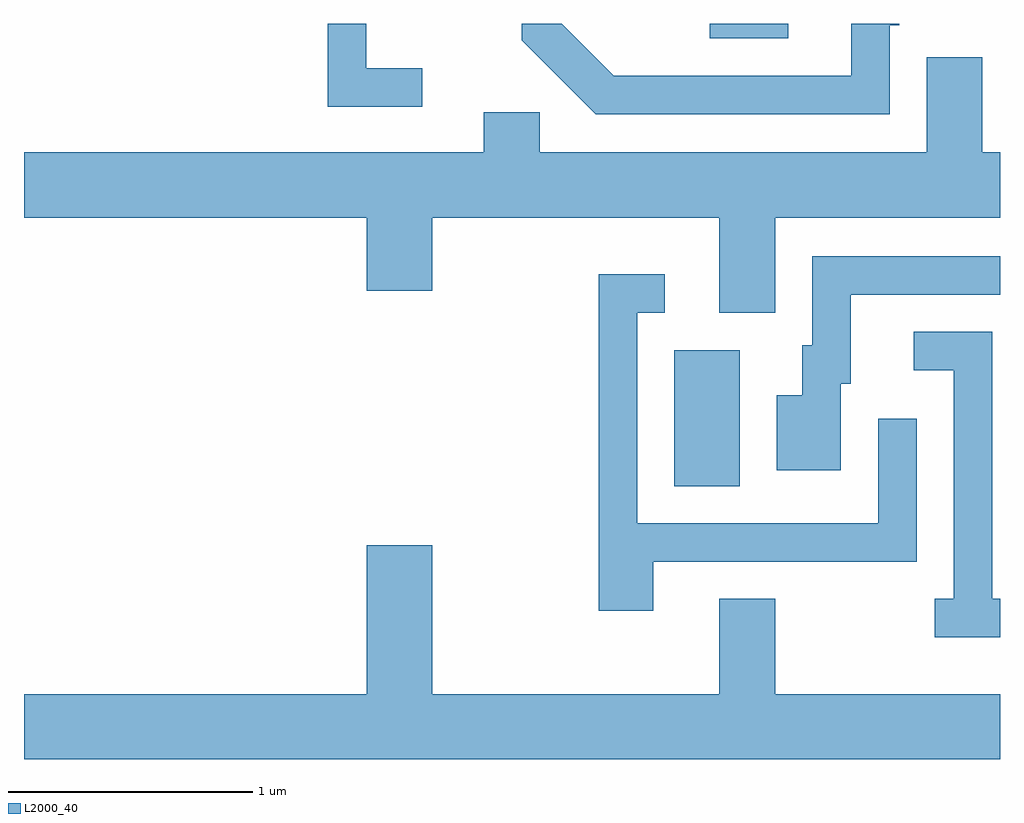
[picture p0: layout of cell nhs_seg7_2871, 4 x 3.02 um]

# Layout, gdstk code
import gdstk
lib = gdstk.Library(unit=1e-6, precision=1e-09)
def R(c, l, rs):  # rectangles x0, y0, x1, y1
    for r in rs: c.add(gdstk.rectangle(r[:2], r[2:], *l))
def P(c, l, *ps):  # polygons
    for p in ps: c.add(gdstk.Polygon(p, *l))
L2000_40 = (2000, 40)

nhs_seg7_2871 = lib.new_cell('nhs_seg7_2871')
R(nhs_seg7_2871, L2000_40, [(276.276,1684.356,276.544,1684.914), (276.421,1686.191,276.743,1686.252)])
P(nhs_seg7_2871, L2000_40, [(275.243,1686.069),(275.014,1686.069),(275.014,1686.252),(274.856,1686.252),(274.856,1685.911),(275.243,1685.911)],
  [(277.159,1686.246),(277.199,1686.246),(277.199,1686.252),(277.001,1686.252),(277.001,1686.039),(276.027,1686.039),(275.814,1686.252),(275.651,1686.252),(275.651,1686.184),(275.954,1685.881),(277.159,1685.881)],
  [(276.689,1685.456),(277.611,1685.456),(277.611,1685.724),(277.539,1685.724),(277.539,1686.114),(277.311,1686.114),(277.311,1685.724),(275.724,1685.724),(275.724,1685.889),(275.496,1685.889),(275.496,1685.724),(273.611,1685.724),(273.611,1685.456),(275.016,1685.456),(275.016,1685.156),(275.284,1685.156),(275.284,1685.456),(276.461,1685.456),(276.461,1685.066),(276.689,1685.066)],
  [(276.959,1684.776),(276.999,1684.776),(276.999,1685.141),(277.611,1685.141),(277.611,1685.299),(276.841,1685.299),(276.841,1684.934),(276.801,1684.934),(276.801,1684.729),(276.696,1684.729),(276.696,1684.421),(276.959,1684.421)],
  [(276.189,1684.046),(277.269,1684.046),(277.269,1684.633),(277.111,1684.633),(277.111,1684.204),(276.124,1684.204),(276.124,1685.066),(276.238,1685.066),(276.238,1685.224),(275.966,1685.224),(275.966,1683.846),(276.189,1683.846)],
  [(277.611,1683.894),(277.579,1683.894),(277.579,1684.989),(277.258,1684.989),(277.258,1684.831),(277.421,1684.831),(277.421,1683.894),(277.343,1683.894),(277.343,1683.736),(277.611,1683.736)],
  [(277.611,1683.504),(276.689,1683.504),(276.689,1683.894),(276.461,1683.894),(276.461,1683.504),(275.284,1683.504),(275.284,1684.114),(275.016,1684.114),(275.016,1683.504),(273.611,1683.504),(273.611,1683.236),(277.611,1683.236)])

lib.write_gds('nhs_seg7_2871.gds')
